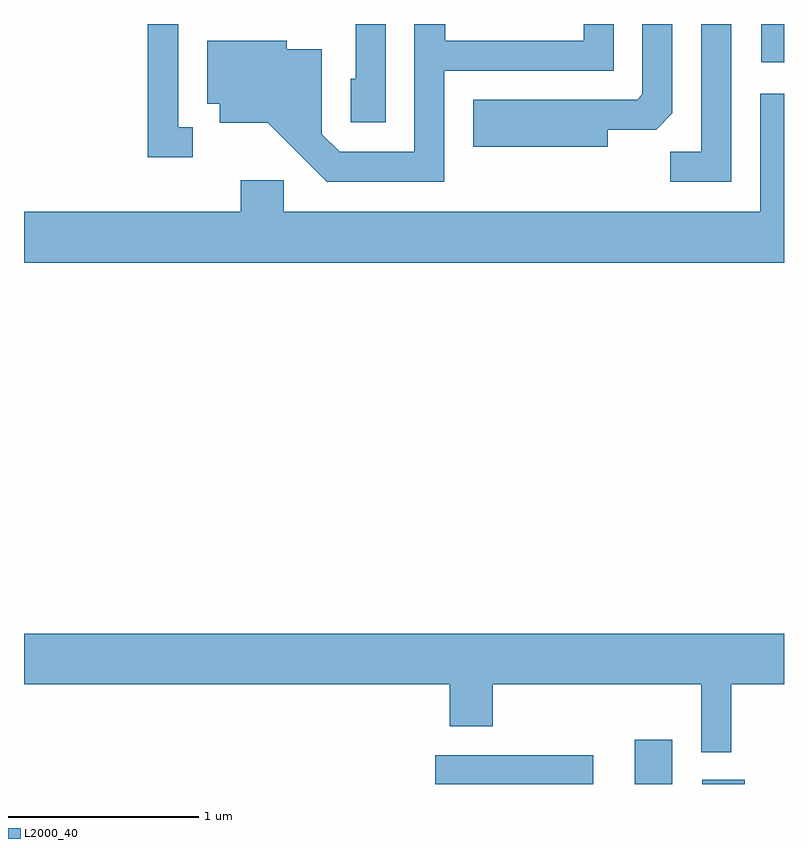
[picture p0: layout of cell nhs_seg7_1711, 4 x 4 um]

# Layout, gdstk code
import gdstk
lib = gdstk.Library(unit=1e-6, precision=1e-09)
def R(c, l, rs):  # rectangles x0, y0, x1, y1
    for r in rs: c.add(gdstk.rectangle(r[:2], r[2:], *l))
def P(c, l, *ps):  # polygons
    for p in ps: c.add(gdstk.Polygon(p, *l))
L2000_40 = (2000, 40)

nhs_seg7_1711 = lib.new_cell('nhs_seg7_1711')
R(nhs_seg7_1711, L2000_40, [(239.776,1698.252,240.608,1698.404), (240.826,1698.252,241.024,1698.484), (241.181,1698.252,241.404,1698.274), (241.491,1702.051,241.611,1702.252)])
P(nhs_seg7_1711, L2000_40, [(241.334,1702.252),(241.176,1702.252),(241.176,1701.579),(241.013,1701.579),(241.013,1701.421),(241.334,1701.421)],
  [(238.498,1701.709),(238.424,1701.709),(238.424,1702.252),(238.261,1702.252),(238.261,1701.551),(238.498,1701.551)],
  [(240.684,1701.696),(240.939,1701.696),(241.024,1701.782),(241.024,1702.252),(240.866,1702.252),(240.866,1701.882),(240.839,1701.854),(239.976,1701.854),(239.976,1701.606),(240.684,1701.606)],
  [(239.824,1702.006),(240.714,1702.006),(240.714,1702.252),(240.556,1702.252),(240.556,1702.164),(239.829,1702.164),(239.829,1702.252),(239.666,1702.252),(239.666,1701.579),(239.272,1701.579),(239.179,1701.672),(239.179,1702.119),(238.994,1702.119),(238.994,1702.164),(238.576,1702.164),(238.576,1701.831),(238.641,1701.831),(238.641,1701.731),(238.894,1701.731),(239.204,1701.421),(239.824,1701.421)],
  [(239.514,1702.252),(239.356,1702.252),(239.356,1701.964),(239.331,1701.964),(239.331,1701.736),(239.514,1701.736)],
  [(241.611,1701.884),(241.486,1701.884),(241.486,1701.264),(238.979,1701.264),(238.979,1701.429),(238.751,1701.429),(238.751,1701.264),(237.611,1701.264),(237.611,1700.996),(241.611,1700.996)],
  [(241.334,1698.776),(241.611,1698.776),(241.611,1699.044),(237.611,1699.044),(237.611,1698.776),(239.851,1698.776),(239.851,1698.556),(240.079,1698.556),(240.079,1698.776),(241.176,1698.776),(241.176,1698.418),(241.334,1698.418)])

lib.write_gds('nhs_seg7_1711.gds')
